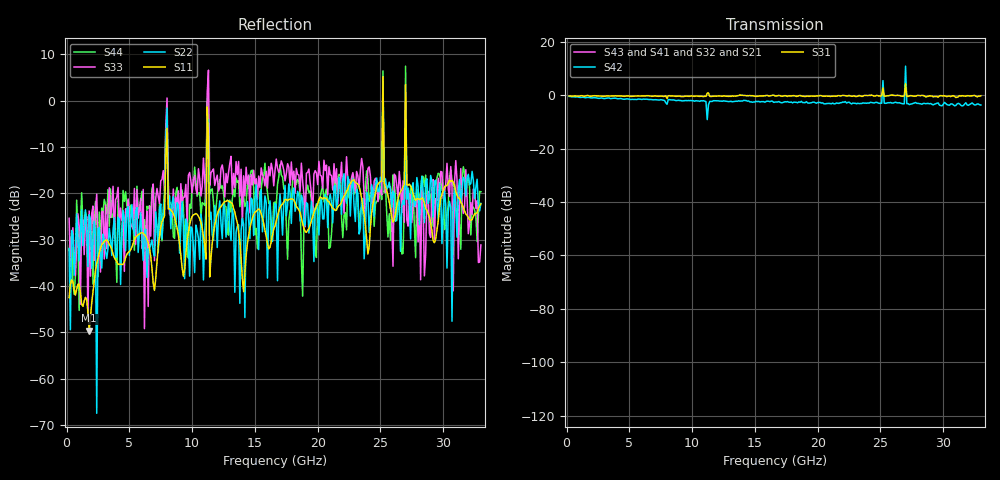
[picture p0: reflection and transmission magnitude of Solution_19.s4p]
# GHZ S RI R 50
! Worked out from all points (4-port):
!   329 points, 200 MHz to 33 GHz, reference 50 ohm
!   strongest paths, dB at 200 MHz, 8.4 GHz, 16.6 GHz, 24.8 GHz, 33 GHz:
!     S31: -0.4, -0.3, -0.3, -0.2, -0.3
!     S42: -0.5, -1.8, -2.6, -2.9, -3.7
!     S43: -, -, -, -, -
!     S41: -, -, -, -, -
!     S32: -, -, -, -, -
!     S21: -, -, -, -, -
!   lowest |S11| = -49.7 dB at 1.8 GHz (marker M1), VSWR 1.01, Z = 49.8 + j0.265 ohm
!   |S11| at or under -10 dB: start of sweep to 7.932 GHz; 11.31 GHz to 25.13 GHz (13.83 GHz wide, 75.9 % of centre); 27.06 GHz to end of sweep (the widest 3 of 5)
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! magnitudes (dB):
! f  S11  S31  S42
! 200 MHz  -42.5  -0.4  -0.5
! 1.8 GHz  -49.7  -0.3  -0.9
! 2.4 GHz  -35.1  -0.3  -1.1
! 6.2 GHz  -28.9  -0.3  -1.5
! 8 GHz  -6.0  -1.3  -3.4
! 14.2 GHz  -37.0  -0.1  -2.0
! 33 GHz  -22.3  -0.3  -3.7
